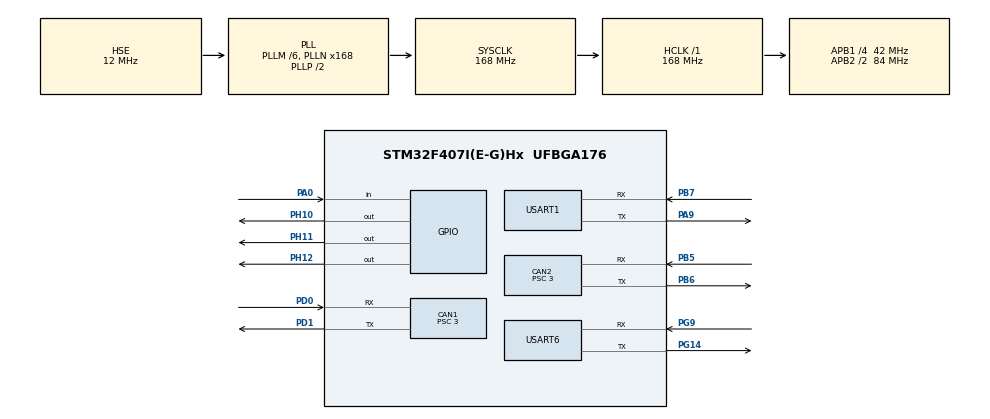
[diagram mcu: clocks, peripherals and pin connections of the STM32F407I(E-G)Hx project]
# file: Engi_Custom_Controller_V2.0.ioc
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CAN1.BS1=CAN_BS1_10TQ
CAN1.BS2=CAN_BS2_3TQ
CAN1.CalculateBaudRate=1000000
CAN1.CalculateTimeBit=1000
CAN1.CalculateTimeQuantum=71.42857142857143
CAN1.Prescaler=3
CAN2.BS1=CAN_BS1_10TQ
CAN2.BS2=CAN_BS2_3TQ
CAN2.CalculateBaudRate=1000000
CAN2.CalculateTimeBit=1000
CAN2.CalculateTimeQuantum=71.42857142857143
CAN2.Prescaler=3
Dma.Request0=USART1_RX
Dma.Request1=USART6_RX
Dma.USART1_RX.0.Direction=DMA_PERIPH_TO_MEMORY
Dma.USART1_RX.0.FIFOMode=DMA_FIFOMODE_DISABLE
Dma.USART1_RX.0.Instance=DMA2_Stream2
Dma.USART1_RX.0.MemDataAlignment=DMA_MDATAALIGN_BYTE
Dma.USART1_RX.0.MemInc=DMA_MINC_ENABLE
Dma.USART1_RX.0.Mode=DMA_NORMAL
Dma.USART1_RX.0.PeriphDataAlignment=DMA_PDATAALIGN_BYTE
Dma.USART1_RX.0.PeriphInc=DMA_PINC_DISABLE
Dma.USART1_RX.0.Priority=DMA_PRIORITY_LOW
Dma.USART6_RX.1.Direction=DMA_PERIPH_TO_MEMORY
Dma.USART6_RX.1.FIFOMode=DMA_FIFOMODE_DISABLE
Dma.USART6_RX.1.Instance=DMA2_Stream1
Dma.USART6_RX.1.MemDataAlignment=DMA_MDATAALIGN_BYTE
Dma.USART6_RX.1.MemInc=DMA_MINC_ENABLE
Dma.USART6_RX.1.Mode=DMA_NORMAL
Dma.USART6_RX.1.PeriphDataAlignment=DMA_PDATAALIGN_BYTE
Dma.USART6_RX.1.PeriphInc=DMA_PINC_DISABLE
Dma.USART6_RX.1.Priority=DMA_PRIORITY_LOW
FREERTOS.Tasks01=LibraryHandler,32,512,StartLibraryHandler,Default,NULL,Dynamic,NULL,NULL;MainTask,24,2048,StartMainTask,Default,NULL,Dynamic,NULL,NULL;UartTask,8,128,StartUartTask,Default,NULL,Dynamic,NULL,NULL
Mcu.Family=STM32F4
Mcu.Name=STM32F407I(E-G)Hx
Mcu.Package=UFBGA176
NVIC.CAN1_RX0_IRQn=true\:5\:0\:false\:false\:true\:true\:true\:true\:true
NVIC.CAN2_RX0_IRQn=true\:5\:0\:false\:false\:true\:true\:true\:true\:true
NVIC.DMA2_Stream1_IRQn=true\:5\:0\:false\:false\:true\:true\:false\:true\:true
NVIC.DMA2_Stream2_IRQn=true\:5\:0\:false\:false\:true\:true\:false\:true\:true
NVIC.PriorityGroup=NVIC_PRIORITYGROUP_4
NVIC.USART1_IRQn=true\:5\:0\:false\:false\:true\:true\:true\:true\:true
NVIC.USART6_IRQn=true\:5\:0\:false\:false\:true\:true\:true\:true\:true
PA0-WKUP.GPIO_PuPd=GPIO_PULLUP
PA0-WKUP.Signal=GPIO_Input
PA9.Mode=Asynchronous
PA9.Signal=USART1_TX
PB5.Mode=CAN_Activate
PB5.Signal=CAN2_RX
PB6.Mode=CAN_Activate
PB6.Signal=CAN2_TX
PB7.Mode=Asynchronous
PB7.Signal=USART1_RX
PD0.Mode=CAN_Activate
PD0.Signal=CAN1_RX
PD1.Mode=CAN_Activate
PD1.Signal=CAN1_TX
PG14.Mode=Asynchronous
PG14.Signal=USART6_TX
PG9.Mode=Asynchronous
PG9.Signal=USART6_RX
PH0-OSC_IN.Mode=HSE-External-Oscillator
PH0-OSC_IN.Signal=RCC_OSC_IN
PH1-OSC_OUT.Mode=HSE-External-Oscillator
PH1-OSC_OUT.Signal=RCC_OSC_OUT
PH10.GPIO_PuPd=GPIO_PULLDOWN
PH10.Signal=GPIO_Output
PH11.GPIO_PuPd=GPIO_PULLDOWN
PH11.Signal=GPIO_Output
PH12.GPIO_PuPd=GPIO_PULLDOWN
PH12.Signal=GPIO_Output
ProjectManager.HeapSize=0x200
ProjectManager.StackSize=0x400
ProjectManager.TargetToolchain=STM32CubeIDE
RCC.48MHZClocksFreq_Value=84000000
RCC.AHBFreq_Value=168000000
RCC.APB1CLKDivider=RCC_HCLK_DIV4
RCC.APB1Freq_Value=42000000
RCC.APB1TimFreq_Value=84000000
RCC.APB2CLKDivider=RCC_HCLK_DIV2
RCC.APB2Freq_Value=84000000
RCC.APB2TimFreq_Value=168000000
RCC.CortexFreq_Value=168000000
RCC.HCLKFreq_Value=168000000
RCC.HSE_VALUE=12000000
RCC.HSI_VALUE=16000000
RCC.LSE_VALUE=32768
RCC.PLLM=6
RCC.PLLN=168
RCC.PLLSourceVirtual=RCC_PLLSOURCE_HSE
RCC.SYSCLKFreq_VALUE=168000000
RCC.SYSCLKSource=RCC_SYSCLKSOURCE_PLLCLK
RCC.VCOOutputFreq_Value=336000000
USART1.VirtualMode=VM_ASYNC
USART6.VirtualMode=VM_ASYNC
VP_FREERTOS_VS_CMSIS_V2.Mode=CMSIS_V2
VP_TIM13_VS_ClockSourceINT.Mode=Enable_Timer
board=custom

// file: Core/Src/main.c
/* USER CODE BEGIN Header */
/**
  ******************************************************************************
  * @file           : main.c
  * @brief          : Main program body
  ******************************************************************************
  * @attention
  *
  * Copyright (c) 2026 STMicroelectronics.
  * All rights reserved.
  *
  * This software is licensed under terms that can be found in the LICENSE file
  * in the root directory of this software component.
  * If no LICENSE file comes with this software, it is provided AS-IS.
  *
  ******************************************************************************
  */
/* USER CODE END Header */
#include "main.h"
#include "cmsis_os.h"

CAN_HandleTypeDef hcan1;
CAN_HandleTypeDef hcan2;

TIM_HandleTypeDef htim13;

UART_HandleTypeDef huart1;
UART_HandleTypeDef huart6;
DMA_HandleTypeDef hdma_usart1_rx;
DMA_HandleTypeDef hdma_usart6_rx;

/* Definitions for LibraryHandler */
osThreadId_t LibraryHandlerHandle;
const osThreadAttr_t LibraryHandler_attributes = {
  .name = "LibraryHandler",
  .stack_size = 512 * 4,
  .priority = (osPriority_t) osPriorityAboveNormal,
};
/* Definitions for MainTask */
osThreadId_t MainTaskHandle;
const osThreadAttr_t MainTask_attributes = {
  .name = "MainTask",
  .stack_size = 2048 * 4,
  .priority = (osPriority_t) osPriorityNormal,
};
/* Definitions for UartTask */
osThreadId_t UartTaskHandle;
const osThreadAttr_t UartTask_attributes = {
  .name = "UartTask",
  .stack_size = 128 * 4,
  .priority = (osPriority_t) osPriorityLow,
};

void SystemClock_Config(void);
static void MX_GPIO_Init(void);
static void MX_DMA_Init(void);
static void MX_CAN1_Init(void);
static void MX_CAN2_Init(void);
static void MX_TIM13_Init(void);
static void MX_USART1_UART_Init(void);
static void MX_USART6_UART_Init(void);
void StartLibraryHandler(void *argument);
void StartMainTask(void *argument);
void StartUartTask(void *argument);

int main(void)
{

  /* MCU Configuration--------------------------------------------------------*/

  /* Reset of all peripherals, Initializes the Flash interface and the Systick. */
  HAL_Init();

  /* Configure the system clock */
  SystemClock_Config();

  /* Initialize all configured peripherals */
  MX_GPIO_Init();
  MX_DMA_Init();
  MX_CAN1_Init();
  MX_CAN2_Init();
  MX_TIM13_Init();
  MX_USART1_UART_Init();
  MX_USART6_UART_Init();

  /* Init scheduler */
  osKernelInitialize();

  /* Create the thread(s) */
  /* creation of LibraryHandler */
  LibraryHandlerHandle = osThreadNew(StartLibraryHandler, NULL, &LibraryHandler_attributes);

  /* creation of MainTask */
  MainTaskHandle = osThreadNew(StartMainTask, NULL, &MainTask_attributes);

  /* creation of UartTask */
  UartTaskHandle = osThreadNew(StartUartTask, NULL, &UartTask_attributes);

  /* Start scheduler */
  osKernelStart();

  /* We should never get here as control is now taken by the scheduler */

  /* Infinite loop */
  while (1)
  {

  }
}

void SystemClock_Config(void)
{
  RCC_OscInitTypeDef RCC_OscInitStruct = {0};
  RCC_ClkInitTypeDef RCC_ClkInitStruct = {0};

  /** Configure the main internal regulator output voltage
  */
  __HAL_RCC_PWR_CLK_ENABLE();
  __HAL_PWR_VOLTAGESCALING_CONFIG(PWR_REGULATOR_VOLTAGE_SCALE1);

  /** Initializes the RCC Oscillators according to the specified parameters
  * in the RCC_OscInitTypeDef structure.
  */
  RCC_OscInitStruct.OscillatorType = RCC_OSCILLATORTYPE_HSE;
  RCC_OscInitStruct.HSEState = RCC_HSE_ON;
  RCC_OscInitStruct.PLL.PLLState = RCC_PLL_ON;
  RCC_OscInitStruct.PLL.PLLSource = RCC_PLLSOURCE_HSE;
  RCC_OscInitStruct.PLL.PLLM = 6;
  RCC_OscInitStruct.PLL.PLLN = 168;
  RCC_OscInitStruct.PLL.PLLP = RCC_PLLP_DIV2;
  RCC_OscInitStruct.PLL.PLLQ = 4;
  if (HAL_RCC_OscConfig(&RCC_OscInitStruct) != HAL_OK)
  {
    Error_Handler();
  }

  /** Initializes the CPU, AHB and APB buses clocks
  */
  RCC_ClkInitStruct.ClockType = RCC_CLOCKTYPE_HCLK|RCC_CLOCKTYPE_SYSCLK
                              |RCC_CLOCKTYPE_PCLK1|RCC_CLOCKTYPE_PCLK2;
  RCC_ClkInitStruct.SYSCLKSource = RCC_SYSCLKSOURCE_PLLCLK;
  RCC_ClkInitStruct.AHBCLKDivider = RCC_SYSCLK_DIV1;
  RCC_ClkInitStruct.APB1CLKDivider = RCC_HCLK_DIV4;
  RCC_ClkInitStruct.APB2CLKDivider = RCC_HCLK_DIV2;

  if (HAL_RCC_ClockConfig(&RCC_ClkInitStruct, FLASH_LATENCY_5) != HAL_OK)
  {
    Error_Handler();
  }
}

static void MX_CAN1_Init(void)
{

  hcan1.Instance = CAN1;
  hcan1.Init.Prescaler = 3;
  hcan1.Init.Mode = CAN_MODE_NORMAL;
  hcan1.Init.SyncJumpWidth = CAN_SJW_1TQ;
  hcan1.Init.TimeSeg1 = CAN_BS1_10TQ;
  hcan1.Init.TimeSeg2 = CAN_BS2_3TQ;
  hcan1.Init.TimeTriggeredMode = DISABLE;
  hcan1.Init.AutoBusOff = DISABLE;
  hcan1.Init.AutoWakeUp = DISABLE;
  hcan1.Init.AutoRetransmission = DISABLE;
  hcan1.Init.ReceiveFifoLocked = DISABLE;
  hcan1.Init.TransmitFifoPriority = DISABLE;
  if (HAL_CAN_Init(&hcan1) != HAL_OK)
  {
    Error_Handler();
  }

}

static void MX_CAN2_Init(void)
{

  hcan2.Instance = CAN2;
  hcan2.Init.Prescaler = 3;
  hcan2.Init.Mode = CAN_MODE_NORMAL;
  hcan2.Init.SyncJumpWidth = CAN_SJW_1TQ;
  hcan2.Init.TimeSeg1 = CAN_BS1_10TQ;
  hcan2.Init.TimeSeg2 = CAN_BS2_3TQ;
  hcan2.Init.TimeTriggeredMode = DISABLE;
  hcan2.Init.AutoBusOff = DISABLE;
  hcan2.Init.AutoWakeUp = DISABLE;
  hcan2.Init.AutoRetransmission = DISABLE;
  hcan2.Init.ReceiveFifoLocked = DISABLE;
  hcan2.Init.TransmitFifoPriority = DISABLE;
  if (HAL_CAN_Init(&hcan2) != HAL_OK)
  {
    Error_Handler();
  }

}

static void MX_TIM13_Init(void)
{

  htim13.Instance = TIM13;
  htim13.Init.Prescaler = 0;
  htim13.Init.CounterMode = TIM_COUNTERMODE_UP;
  htim13.Init.Period = 65535;
  htim13.Init.ClockDivision = TIM_CLOCKDIVISION_DIV1;
  htim13.Init.AutoReloadPreload = TIM_AUTORELOAD_PRELOAD_DISABLE;
  if (HAL_TIM_Base_Init(&htim13) != HAL_OK)
  {
    Error_Handler();
  }

}

static void MX_USART1_UART_Init(void)
{

  huart1.Instance = USART1;
  huart1.Init.BaudRate = 115200;
  huart1.Init.WordLength = UART_WORDLENGTH_8B;
  huart1.Init.StopBits = UART_STOPBITS_1;
  huart1.Init.Parity = UART_PARITY_NONE;
  huart1.Init.Mode = UART_MODE_TX_RX;
  huart1.Init.HwFlowCtl = UART_HWCONTROL_NONE;
  huart1.Init.OverSampling = UART_OVERSAMPLING_16;
  if (HAL_UART_Init(&huart1) != HAL_OK)
  {
    Error_Handler();
  }

}

static void MX_USART6_UART_Init(void)
{

  huart6.Instance = USART6;
  huart6.Init.BaudRate = 115200;
  huart6.Init.WordLength = UART_WORDLENGTH_8B;
  huart6.Init.StopBits = UART_STOPBITS_1;
  huart6.Init.Parity = UART_PARITY_NONE;
  huart6.Init.Mode = UART_MODE_TX_RX;
  huart6.Init.HwFlowCtl = UART_HWCONTROL_NONE;
  huart6.Init.OverSampling = UART_OVERSAMPLING_16;
  if (HAL_UART_Init(&huart6) != HAL_OK)
  {
    Error_Handler();
  }

}

static void MX_DMA_Init(void)
{

  /* DMA controller clock enable */
  __HAL_RCC_DMA2_CLK_ENABLE();

  /* DMA interrupt init */
  /* DMA2_Stream1_IRQn interrupt configuration */
  HAL_NVIC_SetPriority(DMA2_Stream1_IRQn, 5, 0);
  HAL_NVIC_EnableIRQ(DMA2_Stream1_IRQn);
  /* DMA2_Stream2_IRQn interrupt configuration */
  HAL_NVIC_SetPriority(DMA2_Stream2_IRQn, 5, 0);
  HAL_NVIC_EnableIRQ(DMA2_Stream2_IRQn);

}

static void MX_GPIO_Init(void)
{
  GPIO_InitTypeDef GPIO_InitStruct = {0};

  /* GPIO Ports Clock Enable */
  __HAL_RCC_GPIOB_CLK_ENABLE();
  __HAL_RCC_GPIOG_CLK_ENABLE();
  __HAL_RCC_GPIOD_CLK_ENABLE();
  __HAL_RCC_GPIOA_CLK_ENABLE();
  __HAL_RCC_GPIOH_CLK_ENABLE();

  /*Configure GPIO pin Output Level */
  HAL_GPIO_WritePin(GPIOH, GPIO_PIN_12|GPIO_PIN_11|GPIO_PIN_10, GPIO_PIN_RESET);

  /*Configure GPIO pins : PH12 PH11 PH10 */
  GPIO_InitStruct.Pin = GPIO_PIN_12|GPIO_PIN_11|GPIO_PIN_10;
  GPIO_InitStruct.Mode = GPIO_MODE_OUTPUT_PP;
  GPIO_InitStruct.Pull = GPIO_PULLDOWN;
  GPIO_InitStruct.Speed = GPIO_SPEED_FREQ_LOW;
  HAL_GPIO_Init(GPIOH, &GPIO_InitStruct);

  /*Configure GPIO pin : PA0 */
  GPIO_InitStruct.Pin = GPIO_PIN_0;
  GPIO_InitStruct.Mode = GPIO_MODE_INPUT;
  GPIO_InitStruct.Pull = GPIO_PULLUP;
  HAL_GPIO_Init(GPIOA, &GPIO_InitStruct);

}

/* USER CODE BEGIN 4 */
CC_Package_t Jt = {0}; //Joint angles

/* USER CODE END 4 */

void StartLibraryHandler(void *argument)
{
  /* USER CODE BEGIN 5 */
  CAN_Init_Buses(BUS1, BUS2);
  CAN_LinkLib(CAN_RMMotors(),CAN_LKMotors());
  CAN_RM_Init_Buses(BUS1);
  CAN_LK_InitMotor(1,2);
  CAN_LK_InitMotor(1,3);
  CAN_LK_InitMotor(2,4);
  CAN_LK_InitMotor(2,5);
  CAN_LK_InitMotor(2,6);
  UART_Init();
  /* Infinite loop */
  for(;;)
  {
	CAN_RM_Update();
	CAN_LK_Update(1);
    osDelay(1);
  }
  /* USER CODE END 5 */
}

void StartMainTask(void *argument)
{
  /* USER CODE BEGIN StartMainTask */
  uint16_t rawEncoder1;
  uint16_t lastEncoder1 = get6020Pos(1,1);
  int16_t turnCycles = 0;

  uint8_t buttonPressed;
  int64_t rawTheta1;
  int64_t rawTheta2;
  int64_t rawTheta3;
  int64_t rawTheta4;
  int64_t rawTheta5;
  int64_t rawTheta6;

  int64_t t1Offset = 0;
  int64_t t2Offset = 0;
  int64_t t3Offset = 0;
  int64_t t4Offset = 0;
  int64_t t5Offset = 0;
  int64_t t6Offset = 0;

  Jt.theta1 = 0;
  Jt.theta2 = 0;
  Jt.theta3 = 0;
  Jt.theta4 = 0;
  Jt.theta5 = 0;
  Jt.theta6 = 0;
  Jt.datumSet = 0;
  Jt.watchdog = 0;

  uint8_t offsetGood = 0;
  /* Infinite loop */
  for(;;)
  {
	// reading information
	buttonPressed = !HAL_GPIO_ReadPin(GPIOA, GPIO_PIN_0);

	rawEncoder1 = get6020Pos(1,1);
	if ((rawEncoder1 - lastEncoder1) > 5000) { 	//overflow from 0
		turnCycles = turnCycles - 1;
	} else  if ((rawEncoder1 - lastEncoder1) < -5000){ 	//overflow from 8192
		turnCycles = turnCycles + 1;
	}
	lastEncoder1 = rawEncoder1;

	rawTheta1 = (int64_t) ((rawEncoder1 + turnCycles*8192)*(36000.0f/8192.0f));
	rawTheta2 = getLKAngleMulti(2);
	rawTheta3 = getLKAngleMulti(3);
	rawTheta4 = getLKAngleMulti(4);
	rawTheta5 = getLKAngleMulti(5);
	rawTheta6 = getLKAngleMulti(6);

	if (buttonPressed) {
		t1Offset = rawTheta1;
		t2Offset = rawTheta2;
		t3Offset = rawTheta3;
		t4Offset = rawTheta4;
		t5Offset = rawTheta5;
		t6Offset = rawTheta6;
		offsetGood = 1;
	}

	// writing information
	Jt.theta1 = (rawTheta1 - t1Offset + 18000) & 0xffff;
	Jt.theta2 = (rawTheta2 - t2Offset + 18000) & 0xffff;
	Jt.theta3 = (rawTheta3 - t3Offset + 18000) & 0xffff;
	Jt.theta4 = (rawTheta4 - t4Offset + 18000) & 0xffff;
	Jt.theta5 = (rawTheta5 - t5Offset + 18000) & 0xffff;
	Jt.theta6 = (rawTheta6 - t6Offset + 18000) & 0xffff;

	//Jt.theta6 = (uint16_t) (temp6);

	//UART_Printf(UART2,"$%d %d %d %d %d;\n\r",theta2, theta3, theta4, theta5, theta6);
	Jt.watchdog = Jt.watchdog + 1;

	if (offsetGood == 1) {
		Jt.datumSet = 1;
		HAL_GPIO_WritePin(GPIOH, GPIO_PIN_11, 1);
		HAL_GPIO_WritePin(GPIOH, GPIO_PIN_12, 0);
		setLKRPM(4, 0, 200, 50);
	} else {
		Jt.datumSet = 0;
		HAL_GPIO_WritePin(GPIOH, GPIO_PIN_11, 0);
		HAL_GPIO_WritePin(GPIOH, GPIO_PIN_12, 1);
	}
    osDelay(5);
  }
  /* USER CODE END StartMainTask */
}

void StartUartTask(void *argument)
{
  /* USER CODE BEGIN StartUartTask */
  uint8_t SendArr[30];
  /* Infinite loop */
  for(;;)
  {
	memcpy(SendArr, &Jt, sizeof(Jt));
	//UART_Printf(UART2,"$%d %d %d %d %d %d %d %d;\n\r",Jt.theta1, Jt.theta2, Jt.theta3, Jt.theta4, Jt.theta5, Jt.theta6, Jt.datumSet, Jt.watchdog);
	RMCC_Transmit(&huart1, CC_TO_ROBOT_HEADER, SendArr);
	osDelay(35);
  }
  /* USER CODE END StartUartTask */
}

void Error_Handler(void)
{
  __disable_irq();
  while (1)
  {
  }
}
